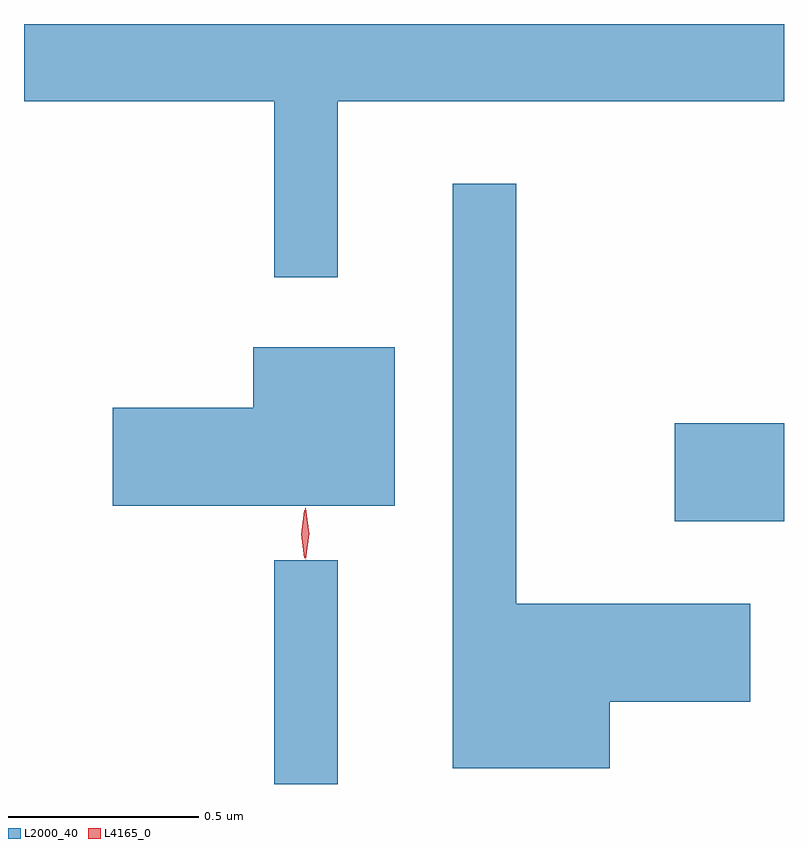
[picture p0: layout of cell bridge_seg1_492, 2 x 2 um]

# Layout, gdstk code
import gdstk
lib = gdstk.Library(unit=1e-6, precision=1e-09)
def R(c, l, rs):  # rectangles x0, y0, x1, y1
    for r in rs: c.add(gdstk.rectangle(r[:2], r[2:], *l))
def P(c, l, *ps):  # polygons
    for p in ps: c.add(gdstk.Polygon(p, *l))
L2000_40 = (2000, 40)
L4165_0 = (4165, 0)

bridge_seg1_492 = lib.new_cell('bridge_seg1_492')
R(bridge_seg1_492, L2000_40, [(210.911,853.379,211.079,853.968), (211.966,854.071,212.253,854.329)])
P(bridge_seg1_492, L2000_40, [(211.079,855.176),(212.253,855.176),(212.253,855.379),(210.253,855.379),(210.253,855.176),(210.911,855.176),(210.911,854.713),(211.079,854.713)],
  [(211.794,853.596),(212.164,853.596),(212.164,853.854),(211.549,853.854),(211.549,854.958),(211.381,854.958),(211.381,853.421),(211.794,853.421)],
  [(211.229,854.529),(210.856,854.529),(210.856,854.369),(210.486,854.369),(210.486,854.111),(211.229,854.111)])
P(bridge_seg1_492, L4165_0, [(210.992,853.973),(210.991,853.974),(210.982,854.036),(210.991,854.099),(210.992,854.1),(210.992,854.099),(211.002,854.036),(210.992,853.974)],
  [(210.994,853.97),(210.984,854.038),(210.993,854.105),(210.994,854.106),(210.994,854.105),(211.004,854.038),(210.995,853.97),(210.995,853.97)])

lib.write_gds('bridge_seg1_492.gds')
